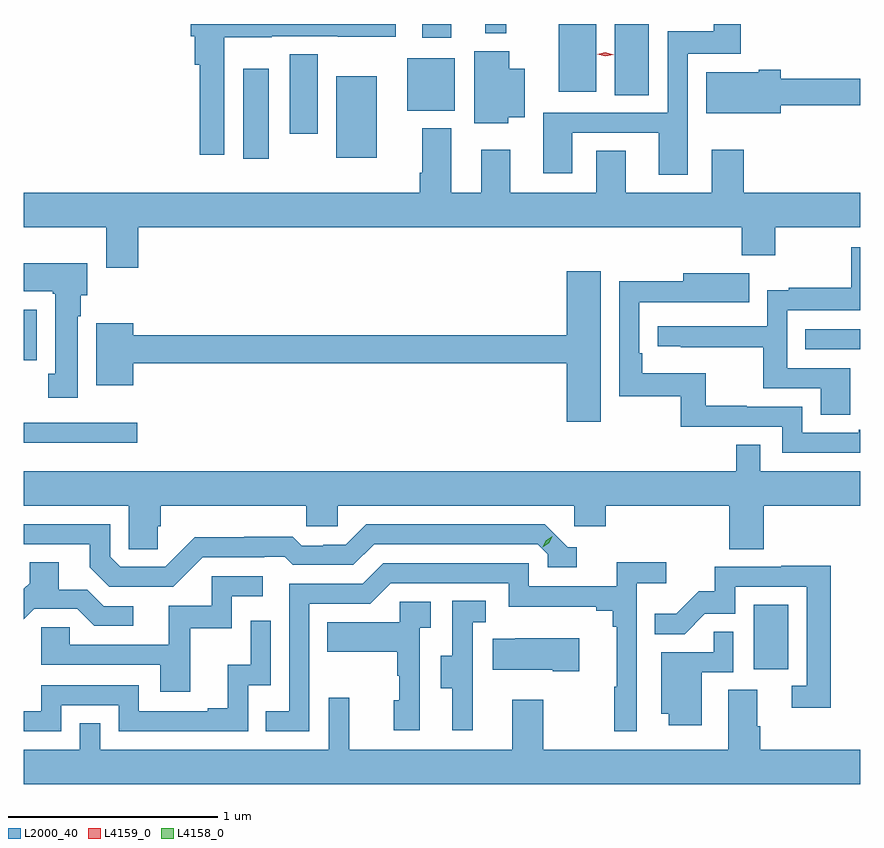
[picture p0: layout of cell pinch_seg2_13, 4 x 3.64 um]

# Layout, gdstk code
import gdstk
lib = gdstk.Library(unit=1e-6, precision=1e-09)
def R(c, l, rs):  # rectangles x0, y0, x1, y1
    for r in rs: c.add(gdstk.rectangle(r[:2], r[2:], *l))
def P(c, l, *ps):  # polygons
    for p in ps: c.add(gdstk.Polygon(p, *l))
L2000_40 = (2000, 40)
L4158_0 = (4158, 0)
L4159_0 = (4159, 0)

pinch_seg2_13 = lib.new_cell('pinch_seg2_13')
R(pinch_seg2_13, L2000_40, [(1086.218,660.174,1086.382,660.481), (1082.726,661.256,1083.268,661.353), (1082.726,661.652,1082.788,661.894), (1086.463,661.704,1086.726,661.8), (1083.776,662.616,1083.898,663.046), (1084.22,662.621,1084.414,663.01), (1083.998,662.736,1084.132,663.116), (1084.559,662.846,1084.786,663.097), (1085.552,662.92,1085.716,663.26), (1085.285,662.936,1085.464,663.26), (1084.631,663.195,1084.771,663.26), (1084.934,663.216,1085.034,663.26)])
P(pinch_seg2_13, L2000_40, [(1083.684,663.197),(1083.912,663.197),(1083.912,663.201),(1084.228,663.201),(1084.228,663.2),(1084.504,663.2),(1084.504,663.26),(1083.524,663.26),(1083.524,663.201),(1083.542,663.201),(1083.542,663.065),(1083.568,663.065),(1083.568,662.634),(1083.684,662.634)],
  [(1085.901,663.117),(1086.155,663.117),(1086.155,663.26),(1086.027,663.26),(1086.027,663.226),(1085.805,663.226),(1085.805,662.835),(1085.21,662.835),(1085.21,662.546),(1085.35,662.546),(1085.35,662.739),(1085.762,662.739),(1085.762,662.538),(1085.901,662.538)],
  [(1085.043,662.813),(1085.122,662.813),(1085.122,663.046),(1085.047,663.046),(1085.047,663.13),(1084.88,663.13),(1084.88,662.786),(1085.043,662.786)],
  [(1086.346,662.871),(1086.726,662.871),(1086.726,662.999),(1086.346,662.999),(1086.346,663.041),(1086.242,663.041),(1086.242,663.028),(1085.99,663.028),(1085.99,662.834),(1086.346,662.834)],
  [(1083.272,662.288),(1086.161,662.288),(1086.161,662.153),(1086.321,662.153),(1086.321,662.288),(1086.726,662.288),(1086.726,662.452),(1086.17,662.452),(1086.17,662.659),(1086.017,662.659),(1086.017,662.452),(1085.605,662.452),(1085.605,662.654),(1085.465,662.654),(1085.465,662.452),(1085.053,662.452),(1085.053,662.659),(1084.913,662.659),(1084.913,662.452),(1084.771,662.452),(1084.771,662.761),(1084.631,662.761),(1084.631,662.548),(1084.619,662.548),(1084.619,662.452),(1082.726,662.452),(1082.726,662.288),(1083.119,662.288),(1083.119,662.094),(1083.272,662.094)],
  [(1086.679,661.614),(1086.378,661.614),(1086.378,661.89),(1086.726,661.89),(1086.726,662.193),(1086.684,662.193),(1086.684,661.999),(1086.385,661.999),(1086.385,661.987),(1086.282,661.987),(1086.282,661.815),(1085.757,661.815),(1085.757,661.719),(1085.869,661.719),(1085.869,661.714),(1086.262,661.714),(1086.262,661.518),(1086.539,661.518),(1086.539,661.39),(1086.679,661.39)],
  [(1082.983,661.862),(1082.998,661.862),(1082.998,661.962),(1083.028,661.962),(1083.028,662.116),(1082.726,662.116),(1082.726,661.982),(1082.863,661.982),(1082.863,661.969),(1082.876,661.969),(1082.876,661.586),(1082.843,661.586),(1082.843,661.473),(1082.983,661.473)],
  [(1085.485,662.077),(1085.324,662.077),(1085.324,661.772),(1083.25,661.772),(1083.25,661.828),(1083.071,661.828),(1083.071,661.532),(1083.25,661.532),(1083.25,661.636),(1085.324,661.636),(1085.324,661.356),(1085.485,661.356)],
  [(1086.726,661.318),(1086.719,661.318),(1086.719,661.305),(1086.45,661.305),(1086.45,661.428),(1086.185,661.428),(1086.185,661.433),(1085.989,661.433),(1085.989,661.588),(1085.684,661.588),(1085.684,661.684),(1085.67,661.684),(1085.67,661.929),(1085.983,661.929),(1085.983,661.928),(1086.197,661.928),(1086.197,662.068),(1085.879,662.068),(1085.879,662.03),(1085.574,662.03),(1085.574,661.479),(1085.868,661.479),(1085.868,661.332),(1086.354,661.332),(1086.354,661.209),(1086.726,661.209)],
  [(1083.365,660.858),(1083.38,660.858),(1083.38,660.956),(1084.077,660.956),(1084.077,660.858),(1084.227,660.858),(1084.227,660.956),(1085.358,660.956),(1085.358,660.858),(1085.51,660.858),(1085.51,660.956),(1086.101,660.956),(1086.101,660.748),(1086.266,660.748),(1086.266,660.956),(1086.726,660.956),(1086.726,661.12),(1086.249,661.12),(1086.249,661.247),(1086.133,661.247),(1086.133,661.12),(1082.726,661.12),(1082.726,660.956),(1083.228,660.956),(1083.228,660.748),(1083.365,660.748)],
  [(1083.582,660.708),(1083.875,660.708),(1083.875,660.711),(1083.974,660.711),(1084.013,660.672),(1084.302,660.672),(1084.401,660.771),(1085.184,660.771),(1085.232,660.723),(1085.232,660.66),(1085.371,660.66),(1085.371,660.756),(1085.328,660.756),(1085.217,660.867),(1084.364,660.867),(1084.265,660.768),(1084.158,660.768),(1084.158,660.765),(1084.055,660.765),(1084.013,660.808),(1083.78,660.808),(1083.78,660.805),(1083.544,660.805),(1083.402,660.663),(1083.186,660.663),(1083.138,660.711),(1083.138,660.867),(1082.726,660.867),(1082.726,660.771),(1083.041,660.771),(1083.041,660.661),(1083.135,660.567),(1083.441,660.567)],
  [(1083.25,660.474),(1083.108,660.474),(1083.028,660.554),(1082.893,660.554),(1082.893,660.686),(1082.753,660.686),(1082.753,660.584),(1082.726,660.557),(1082.726,660.413),(1082.775,660.462),(1082.981,660.462),(1083.062,660.381),(1083.25,660.381)],
  [(1084.092,660.486),(1084.383,660.486),(1084.482,660.585),(1085.046,660.585),(1085.046,660.473),(1085.465,660.473),(1085.465,660.454),(1085.542,660.454),(1085.542,660.377),(1085.561,660.377),(1085.561,660.089),(1085.55,660.089),(1085.55,659.877),(1085.658,659.877),(1085.658,660.584),(1085.8,660.584),(1085.8,660.686),(1085.561,660.686),(1085.561,660.57),(1085.142,660.57),(1085.142,660.681),(1084.445,660.681),(1084.346,660.582),(1083.996,660.582),(1083.996,659.973),(1083.883,659.973),(1083.883,659.877),(1084.092,659.877)],
  [(1086.587,660.668),(1086.349,660.668),(1086.349,660.663),(1086.031,660.663),(1086.031,660.546),(1085.954,660.546),(1085.847,660.439),(1085.743,660.439),(1085.743,660.341),(1085.887,660.341),(1085.984,660.438),(1086.129,660.438),(1086.129,660.567),(1086.471,660.567),(1086.471,660.093),(1086.399,660.093),(1086.399,659.988),(1086.587,659.988)],
  [(1083.521,660.369),(1083.72,660.369),(1083.72,660.522),(1083.868,660.522),(1083.868,660.618),(1083.624,660.618),(1083.624,660.477),(1083.419,660.477),(1083.419,660.291),(1082.945,660.291),(1082.945,660.375),(1082.808,660.375),(1082.808,660.195),(1083.377,660.195),(1083.377,660.066),(1083.521,660.066)],
  [(1084.874,660.093),(1084.872,660.093),(1084.872,660.397),(1084.936,660.397),(1084.936,660.5),(1084.776,660.5),(1084.776,660.237),(1084.721,660.237),(1084.721,660.082),(1084.775,660.082),(1084.775,659.88),(1084.874,659.88)],
  [(1084.62,660.371),(1084.672,660.371),(1084.672,660.495),(1084.524,660.495),(1084.524,660.397),(1084.177,660.397),(1084.177,660.257),(1084.512,660.257),(1084.512,660.143),(1084.522,660.143),(1084.522,660.024),(1084.496,660.024),(1084.496,659.88),(1084.62,659.88)],
  [(1082.904,660),(1083.18,660),(1083.18,659.877),(1083.798,659.877),(1083.798,660.096),(1083.906,660.096),(1083.906,660.406),(1083.81,660.406),(1083.81,660.194),(1083.701,660.194),(1083.701,659.986),(1083.605,659.986),(1083.605,659.973),(1083.276,659.973),(1083.276,660.096),(1082.808,660.096),(1082.808,659.973),(1082.726,659.973),(1082.726,659.877),(1082.904,659.877)],
  [(1085.968,660.159),(1086.12,660.159),(1086.12,660.353),(1086.025,660.353),(1086.025,660.255),(1085.774,660.255),(1085.774,659.96),(1085.81,659.96),(1085.81,659.904),(1085.968,659.904)],
  [(1085.383,660.322),(1085.077,660.322),(1085.077,660.319),(1084.969,660.319),(1084.969,660.17),(1085.255,660.17),(1085.255,660.163),(1085.383,660.163)],
  [(1082.994,659.915),(1082.994,659.788),(1082.726,659.788),(1082.726,659.624),(1086.726,659.624),(1086.726,659.788),(1086.248,659.788),(1086.248,659.9),(1086.235,659.9),(1086.235,660.074),(1086.095,660.074),(1086.095,659.788),(1085.211,659.788),(1085.211,660.028),(1085.063,660.028),(1085.063,659.788),(1084.283,659.788),(1084.283,660.037),(1084.185,660.037),(1084.185,659.788),(1083.09,659.788),(1083.09,659.915)])
P(pinch_seg2_13, L4158_0, [(1085.208,660.757),(1085.208,660.758),(1085.224,660.79),(1085.254,660.81),(1085.254,660.81),(1085.254,660.81),(1085.238,660.777),(1085.208,660.757)])
P(pinch_seg2_13, L4159_0, [(1085.508,663.105),(1085.468,663.115),(1085.468,663.115),(1085.468,663.115),(1085.508,663.124),(1085.548,663.114),(1085.548,663.114),(1085.548,663.114)])

lib.write_gds('pinch_seg2_13.gds')
